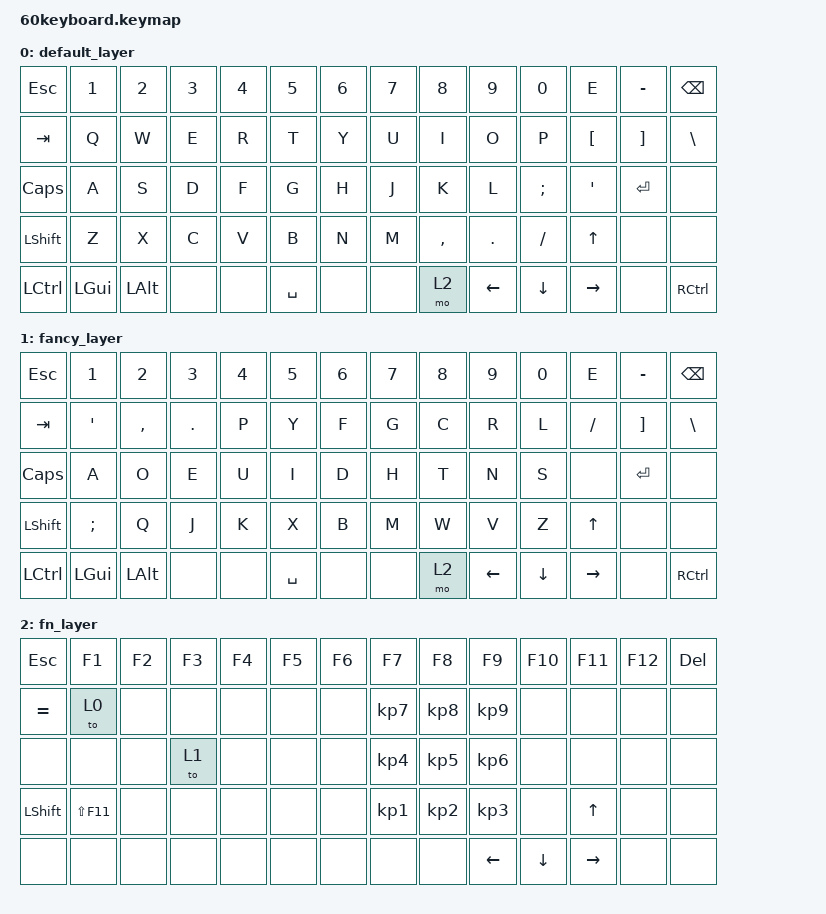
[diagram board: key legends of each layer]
#include <behaviors.dtsi>
#include <dt-bindings/zmk/keys.h>
#include <dt-bindings/zmk/bt.h>

/ {
    keymap {
        compatible = "zmk,keymap";

        default_layer {
            bindings = <
                &kp ESC     &kp N1      &kp N2      &kp N3       &kp N4   &kp N5     &kp N6     &kp N7       &kp N8       &kp N9      &kp N0      &kp E     &kp MINUS  &kp BSPC
                &kp TAB     &kp Q       &kp W       &kp E        &kp R    &kp T      &kp Y      &kp U        &kp I        &kp O       &kp P       &kp LBKT  &kp RBKT   &kp BSLH
                &kp CAPS    &kp A       &kp S       &kp D        &kp F    &kp G      &kp H      &kp J        &kp K        &kp L       &kp SEMI    &kp SQT   &kp ENTER  &none
                &kp LSHIFT  &kp Z       &kp X       &kp C        &kp V    &kp B      &kp N      &kp M        &kp COMMA    &kp PERIOD  &kp SLASH   &kp UP    &none      &none
                &kp LCTRL   &kp LGUI  &kp LALT    &none        &none    &kp SPACE  &none      &none        &mo 2        &kp LEFT    &kp DOWN    &kp RIGHT &none      &kp RCTRL
            >;
        };

        fancy_layer {
            bindings = <
                &kp ESC     &kp N1      &kp N2      &kp N3       &kp N4   &kp N5     &kp N6     &kp N7      &kp N8       &kp N9      &kp N0      &kp E      &kp MINUS  &kp BSPC
                &kp TAB     &kp SQT     &kp COMMA   &kp PERIOD   &kp P    &kp Y      &kp F      &kp G       &kp C        &kp R       &kp L       &kp SLASH  &kp RBKT   &kp BSLH
                &kp CAPS    &kp A       &kp O       &kp E        &kp U    &kp I      &kp D      &kp H       &kp T        &kp N       &kp S       &none      &kp ENTER  &none
                &kp LSHIFT  &kp SEMI    &kp Q       &kp J        &kp K    &kp X      &kp B      &kp M       &kp W        &kp V       &kp Z       &kp UP     &none      &none
                &kp LCTRL   &kp LGUI  &kp LALT    &none        &none    &kp SPACE  &none      &none        &mo 2        &kp LEFT    &kp DOWN    &kp RIGHT   &none      &kp RCTRL
            >;
        };

        fn_layer {
            bindings = <
                &kp ESC      &kp F1    &kp F2      &kp F3      &kp F4   &kp F5     &kp F6     &kp F7      &kp F8       &kp F9      &kp F10      &kp F11    &kp F12    &kp DEL
                &kp EQUAL    &to 0     &none       &none       &none    &none      &none      &kp KP_N7      &kp KP_N8       &kp KP_N9        &none       &none       &none      &none
                &none        &none     &none       &to 1       &none    &none      &none      &kp KP_N4      &kp KP_N5       &kp KP_N6        &none       &none       &none      &none
                &kp LSHIFT   &kp LS(F11)     &none       &none       &none    &none      &none      &kp KP_N1      &kp KP_N2       &kp KP_N3        &none       &kp UP      &none      &none
                &none        &none     &none       &none       &none    &none      &none      &none       &none        &kp LEFT    &kp DOWN    &kp RIGHT   &none      &none
            >;
        };
    };
};
